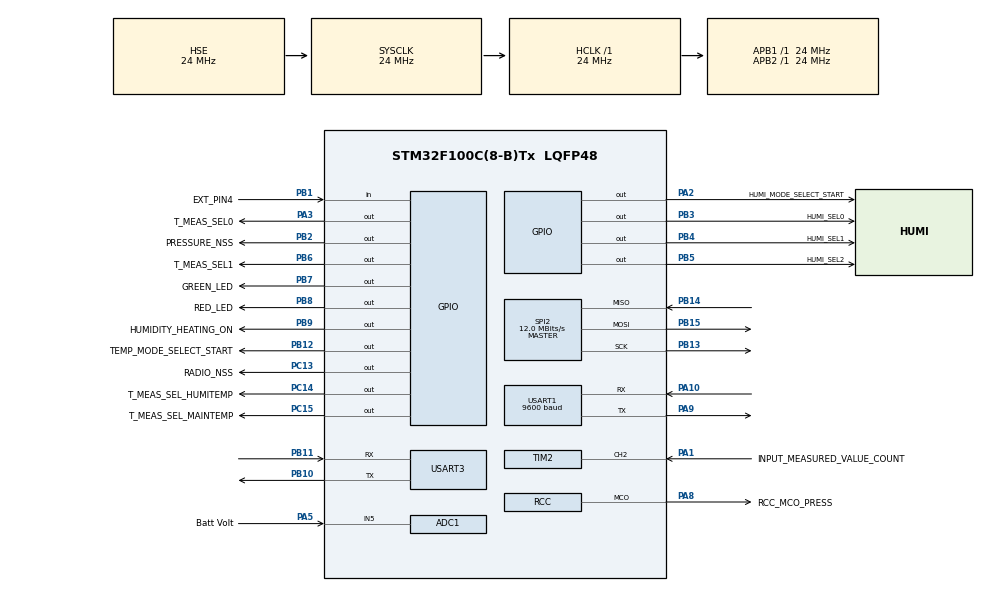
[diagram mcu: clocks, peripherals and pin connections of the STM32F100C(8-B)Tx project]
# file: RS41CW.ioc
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ADC1.Channel-0\#ChannelRegularConversion=ADC_CHANNEL_5
ADC1.NbrOfConversionFlag=1
ADC1.Rank-0\#ChannelRegularConversion=1
ADC1.SamplingTime-0\#ChannelRegularConversion=ADC_SAMPLETIME_1CYCLE_5
ADC1.master=1
Mcu.Family=STM32F1
Mcu.Name=STM32F100C(8-B)Tx
Mcu.Package=LQFP48
NVIC.PriorityGroup=NVIC_PRIORITYGROUP_4
NVIC.TIM2_IRQn=true\:0\:0\:false\:false\:true\:true\:true\:true
NVIC.TIM6_DAC_IRQn=true\:15\:0\:false\:false\:true\:false\:true\:true
NVIC.TIM7_IRQn=true\:0\:0\:false\:false\:true\:true\:true\:true
NVIC.TimeBase=TIM6_DAC_IRQn
NVIC.TimeBaseIP=TIM6
PA1.GPIO_Label=INPUT_MEASURED_VALUE_COUNT
PA1.GPIO_Mode=GPIO_MODE_INPUT
PA1.GPIO_PuPd=GPIO_NOPULL
PA1.Signal=S_TIM2_CH2
PA10.Mode=Asynchronous
PA10.Signal=USART1_RX
PA13.Mode=Serial_Wire
PA13.Signal=SYS_JTMS-SWDIO
PA14.Mode=Serial_Wire
PA14.Signal=SYS_JTCK-SWCLK
PA2.GPIO_Label=HUMI_MODE_SELECT_START
PA2.GPIO_PuPd=GPIO_NOPULL
PA2.PinState=GPIO_PIN_RESET
PA2.Signal=GPIO_Output
PA3.GPIO_Label=T_MEAS_SEL0
PA3.Signal=GPIO_Output
PA5.GPIO_Label=Batt Volt
PA5.Signal=ADCx_IN5
PA8.GPIO_Label=RCC_MCO_PRESS
PA8.Mode=Clock-out
PA8.Signal=RCC_MCO
PA9.Mode=Asynchronous
PA9.Signal=USART1_TX
PB1.GPIO_Label=EXT_PIN4
PB1.Signal=GPIO_Input
PB10.Mode=Asynchronous
PB10.Signal=USART3_TX
PB11.Mode=Asynchronous
PB11.Signal=USART3_RX
PB12.GPIO_Label=TEMP_MODE_SELECT_START
PB12.GPIO_PuPd=GPIO_NOPULL
PB12.Signal=GPIO_Output
PB13.Mode=Full_Duplex_Master
PB13.Signal=SPI2_SCK
PB14.Mode=Full_Duplex_Master
PB14.Signal=SPI2_MISO
PB15.Mode=Full_Duplex_Master
PB15.Signal=SPI2_MOSI
PB2.GPIO_Label=PRESSURE_NSS
PB2.Signal=GPIO_Output
PB3.GPIO_Label=HUMI_SEL0
PB3.Signal=GPIO_Output
PB4.GPIO_Label=HUMI_SEL1
PB4.Signal=GPIO_Output
PB5.GPIO_Label=HUMI_SEL2
PB5.Signal=GPIO_Output
PB6.GPIO_Label=T_MEAS_SEL1
PB6.Signal=GPIO_Output
PB7.GPIO_Label=GREEN_LED
PB7.Signal=GPIO_Output
PB8.GPIO_Label=RED_LED
PB8.Signal=GPIO_Output
PB9.GPIO_Label=HUMIDITY_HEATING_ON
PB9.Signal=GPIO_Output
PC13-TAMPER-RTC.GPIO_Label=RADIO_NSS
PC13-TAMPER-RTC.Signal=GPIO_Output
PC14-OSC32_IN.GPIO_Label=T_MEAS_SEL_HUMITEMP
PC14-OSC32_IN.Signal=GPIO_Output
PC15-OSC32_OUT.GPIO_Label=T_MEAS_SEL_MAINTEMP
PC15-OSC32_OUT.Signal=GPIO_Output
PD0-OSC_IN.Mode=HSE-External-Oscillator
PD0-OSC_IN.Signal=RCC_OSC_IN
PD1-OSC_OUT.Mode=HSE-External-Oscillator
PD1-OSC_OUT.Signal=RCC_OSC_OUT
ProjectManager.HeapSize=0x200
ProjectManager.StackSize=0x400
ProjectManager.TargetToolchain=STM32CubeIDE
RCC.AHBFreq_Value=24000000
RCC.APB1Freq_Value=24000000
RCC.APB1TimFreq_Value=24000000
RCC.APB2Freq_Value=24000000
RCC.APB2TimFreq_Value=24000000
RCC.HCLKFreq_Value=24000000
RCC.HSEDivPLL=RCC_HSE_PREDIV_DIV2
RCC.HSE_VALUE=24000000
RCC.PLLSource=RCC_PLLSOURCE_HSE
RCC.RCC_MCOSource=RCC_MCO1SOURCE_HSE
RCC.SYSCLKFreq_VALUE=24000000
RCC.SYSCLKSource=RCC_SYSCLKSOURCE_HSE
SH.ADCx_IN5.0=ADC1_IN5,IN5
SH.S_TIM2_CH2.0=TIM2_CH2,Input_Capture2_from_TI2
SPI2.CalculateBaudRate=12.0 MBits/s
SPI2.Direction=SPI_DIRECTION_2LINES
SPI2.Mode=SPI_MODE_MASTER
SPI2.VirtualType=VM_MASTER
TIM15.AutoReloadPreload=TIM_AUTORELOAD_PRELOAD_ENABLE
TIM15.Channel-PWM\ Generation2\ No\ Output=TIM_CHANNEL_2
TIM15.Period=24000-1
TIM15.Prescaler=1
TIM15.Pulse-PWM\ Generation2\ No\ Output=12000
TIM2.Channel-Input_Capture2_from_TI2=TIM_CHANNEL_2
TIM2.Prescaler=0
TIM7.Period=1000
TIM7.Prescaler=23999
USART1.BaudRate=9600
USART1.VirtualMode=VM_ASYNC
USART3.VirtualMode=VM_ASYNC
VP_SYS_VS_tim6.Mode=TIM6
VP_TIM15_VS_ClockSourceINT.Mode=Internal
VP_TIM15_VS_no_output2.Mode=PWM Generation2 No Output
VP_TIM2_VS_ClockSourceINT.Mode=Internal
VP_TIM7_VS_ClockSourceINT.Mode=Enable_Timer
board=custom

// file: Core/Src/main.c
/* USER CODE BEGIN Header */
/**
  ******************************************************************************
  * @file           : main.c
  * @brief          : Main program body
  ******************************************************************************
  * @attention
  *
  * Copyright (c) 2024 STMicroelectronics.
  * All rights reserved.
  *
  * This software is licensed under terms that can be found in the LICENSE file
  * in the root directory of this software component.
  * If no LICENSE file comes with this software, it is provided AS-IS.
  *
  ******************************************************************************
  */
/* USER CODE END Header */
#include "main.h"

/* USER CODE BEGIN Includes */
#include <string.h>
#include "radio.h"
#include "Setup_Si4032.h"
#include "config.h"
#include "cw.h"

/* USER CODE END Includes */

ADC_HandleTypeDef hadc1;

SPI_HandleTypeDef hspi2;

TIM_HandleTypeDef htim2;
TIM_HandleTypeDef htim7;
TIM_HandleTypeDef htim15;

UART_HandleTypeDef huart1;
UART_HandleTypeDef huart3;

void SystemClock_Config(void);
static void MX_GPIO_Init(void);
static void MX_USART1_UART_Init(void);
static void MX_ADC1_Init(void);
static void MX_USART3_UART_Init(void);
static void MX_TIM2_Init(void);
static void MX_TIM7_Init(void);
static void MX_TIM15_Init(void);
static void MX_SPI2_Init(void);

/* USER CODE BEGIN 0 */
int oneSecTic = 0;
uint8_t txData[64];

/* USER CODE END 0 */

int main(void)
{
  /* USER CODE BEGIN 1 */
	HAL_StatusTypeDef HAL_Status;

  /* USER CODE END 1 */

  /* MCU Configuration--------------------------------------------------------*/

  /* Reset of all peripherals, Initializes the Flash interface and the Systick. */
  HAL_Init();

  /* Configure the system clock */
  SystemClock_Config();

  /* Initialize all configured peripherals */
  MX_GPIO_Init();
  MX_USART1_UART_Init();
  MX_ADC1_Init();
  MX_USART3_UART_Init();
  MX_TIM2_Init();
  MX_TIM7_Init();
  MX_TIM15_Init();
  MX_SPI2_Init();
  /* USER CODE BEGIN 2 */

  HAL_Status = setupRadio(&hspi2);
  if(HAL_Status == HAL_OK)
  {
	  //Turm tx on
	  HAL_Status = enableTx();

	  if (HAL_SPI_DeInit(&hspi2) != HAL_OK)
	  {
		Error_Handler();
	  }

	  remapTIM15();

	  sendCallCW(CALL_SIGN,strlen(CALL_SIGN));
	  HAL_Delay(1000);
	  __HAL_AFIO_REMAP_TIM15_ENABLE();

  }

  /* USER CODE END 2 */

  /* Infinite loop */
  while (1)
  {

    /* USER CODE BEGIN 3 */
	  HAL_Delay(1000*600);
	  sendCallCW(CALL_SIGN,strlen(CALL_SIGN));
	  HAL_Delay(1000);
	  __HAL_AFIO_REMAP_TIM15_ENABLE();
  }
  /* USER CODE END 3 */
}

void SystemClock_Config(void)
{
  RCC_OscInitTypeDef RCC_OscInitStruct = {0};
  RCC_ClkInitTypeDef RCC_ClkInitStruct = {0};
  RCC_PeriphCLKInitTypeDef PeriphClkInit = {0};

  /** Initializes the RCC Oscillators according to the specified parameters
  * in the RCC_OscInitTypeDef structure.
  */
  RCC_OscInitStruct.OscillatorType = RCC_OSCILLATORTYPE_HSE;
  RCC_OscInitStruct.HSEState = RCC_HSE_ON;
  RCC_OscInitStruct.PLL.PLLState = RCC_PLL_NONE;
  if (HAL_RCC_OscConfig(&RCC_OscInitStruct) != HAL_OK)
  {
    Error_Handler();
  }

  /** Initializes the CPU, AHB and APB buses clocks
  */
  RCC_ClkInitStruct.ClockType = RCC_CLOCKTYPE_HCLK|RCC_CLOCKTYPE_SYSCLK
                              |RCC_CLOCKTYPE_PCLK1|RCC_CLOCKTYPE_PCLK2;
  RCC_ClkInitStruct.SYSCLKSource = RCC_SYSCLKSOURCE_HSE;
  RCC_ClkInitStruct.AHBCLKDivider = RCC_SYSCLK_DIV1;
  RCC_ClkInitStruct.APB1CLKDivider = RCC_HCLK_DIV1;
  RCC_ClkInitStruct.APB2CLKDivider = RCC_HCLK_DIV1;

  if (HAL_RCC_ClockConfig(&RCC_ClkInitStruct, FLASH_LATENCY_0) != HAL_OK)
  {
    Error_Handler();
  }
  PeriphClkInit.PeriphClockSelection = RCC_PERIPHCLK_ADC;
  PeriphClkInit.AdcClockSelection = RCC_ADCPCLK2_DIV2;
  if (HAL_RCCEx_PeriphCLKConfig(&PeriphClkInit) != HAL_OK)
  {
    Error_Handler();
  }
  HAL_RCC_MCOConfig(RCC_MCO, RCC_MCO1SOURCE_HSE, RCC_MCODIV_1);
}

static void MX_ADC1_Init(void)
{

  ADC_ChannelConfTypeDef sConfig = {0};

  /** Common config
  */
  hadc1.Instance = ADC1;
  hadc1.Init.ScanConvMode = ADC_SCAN_DISABLE;
  hadc1.Init.ContinuousConvMode = DISABLE;
  hadc1.Init.DiscontinuousConvMode = DISABLE;
  hadc1.Init.ExternalTrigConv = ADC_SOFTWARE_START;
  hadc1.Init.DataAlign = ADC_DATAALIGN_RIGHT;
  hadc1.Init.NbrOfConversion = 1;
  if (HAL_ADC_Init(&hadc1) != HAL_OK)
  {
    Error_Handler();
  }

  /** Configure Regular Channel
  */
  sConfig.Channel = ADC_CHANNEL_5;
  sConfig.Rank = ADC_REGULAR_RANK_1;
  sConfig.SamplingTime = ADC_SAMPLETIME_1CYCLE_5;
  if (HAL_ADC_ConfigChannel(&hadc1, &sConfig) != HAL_OK)
  {
    Error_Handler();
  }

}

static void MX_SPI2_Init(void)
{

  /* SPI2 parameter configuration*/
  hspi2.Instance = SPI2;
  hspi2.Init.Mode = SPI_MODE_MASTER;
  hspi2.Init.Direction = SPI_DIRECTION_2LINES;
  hspi2.Init.DataSize = SPI_DATASIZE_8BIT;
  hspi2.Init.CLKPolarity = SPI_POLARITY_LOW;
  hspi2.Init.CLKPhase = SPI_PHASE_1EDGE;
  hspi2.Init.NSS = SPI_NSS_SOFT;
  hspi2.Init.BaudRatePrescaler = SPI_BAUDRATEPRESCALER_2;
  hspi2.Init.FirstBit = SPI_FIRSTBIT_MSB;
  hspi2.Init.TIMode = SPI_TIMODE_DISABLE;
  hspi2.Init.CRCCalculation = SPI_CRCCALCULATION_DISABLE;
  hspi2.Init.CRCPolynomial = 10;
  if (HAL_SPI_Init(&hspi2) != HAL_OK)
  {
    Error_Handler();
  }

}

static void MX_TIM2_Init(void)
{

  TIM_ClockConfigTypeDef sClockSourceConfig = {0};
  TIM_MasterConfigTypeDef sMasterConfig = {0};
  TIM_IC_InitTypeDef sConfigIC = {0};

  htim2.Instance = TIM2;
  htim2.Init.Prescaler = 0;
  htim2.Init.CounterMode = TIM_COUNTERMODE_UP;
  htim2.Init.Period = 65535;
  htim2.Init.ClockDivision = TIM_CLOCKDIVISION_DIV1;
  htim2.Init.AutoReloadPreload = TIM_AUTORELOAD_PRELOAD_DISABLE;
  if (HAL_TIM_Base_Init(&htim2) != HAL_OK)
  {
    Error_Handler();
  }
  sClockSourceConfig.ClockSource = TIM_CLOCKSOURCE_INTERNAL;
  if (HAL_TIM_ConfigClockSource(&htim2, &sClockSourceConfig) != HAL_OK)
  {
    Error_Handler();
  }
  if (HAL_TIM_IC_Init(&htim2) != HAL_OK)
  {
    Error_Handler();
  }
  sMasterConfig.MasterOutputTrigger = TIM_TRGO_RESET;
  sMasterConfig.MasterSlaveMode = TIM_MASTERSLAVEMODE_DISABLE;
  if (HAL_TIMEx_MasterConfigSynchronization(&htim2, &sMasterConfig) != HAL_OK)
  {
    Error_Handler();
  }
  sConfigIC.ICPolarity = TIM_INPUTCHANNELPOLARITY_RISING;
  sConfigIC.ICSelection = TIM_ICSELECTION_DIRECTTI;
  sConfigIC.ICPrescaler = TIM_ICPSC_DIV1;
  sConfigIC.ICFilter = 0;
  if (HAL_TIM_IC_ConfigChannel(&htim2, &sConfigIC, TIM_CHANNEL_2) != HAL_OK)
  {
    Error_Handler();
  }

}

static void MX_TIM7_Init(void)
{

  TIM_MasterConfigTypeDef sMasterConfig = {0};

  htim7.Instance = TIM7;
  htim7.Init.Prescaler = 23999;
  htim7.Init.CounterMode = TIM_COUNTERMODE_UP;
  htim7.Init.Period = 1000;
  htim7.Init.AutoReloadPreload = TIM_AUTORELOAD_PRELOAD_DISABLE;
  if (HAL_TIM_Base_Init(&htim7) != HAL_OK)
  {
    Error_Handler();
  }
  sMasterConfig.MasterOutputTrigger = TIM_TRGO_RESET;
  sMasterConfig.MasterSlaveMode = TIM_MASTERSLAVEMODE_DISABLE;
  if (HAL_TIMEx_MasterConfigSynchronization(&htim7, &sMasterConfig) != HAL_OK)
  {
    Error_Handler();
  }
  /* USER CODE BEGIN TIM7_Init 2 */

  if (HAL_TIM_Base_Start_IT(&htim7) != HAL_OK)
  {
    Error_Handler();
  }

  /* USER CODE END TIM7_Init 2 */

}

static void MX_TIM15_Init(void)
{

  TIM_ClockConfigTypeDef sClockSourceConfig = {0};
  TIM_MasterConfigTypeDef sMasterConfig = {0};
  TIM_OC_InitTypeDef sConfigOC = {0};
  TIM_BreakDeadTimeConfigTypeDef sBreakDeadTimeConfig = {0};

  htim15.Instance = TIM15;
  htim15.Init.Prescaler = 1;
  htim15.Init.CounterMode = TIM_COUNTERMODE_UP;
  htim15.Init.Period = 24000-1;
  htim15.Init.ClockDivision = TIM_CLOCKDIVISION_DIV1;
  htim15.Init.RepetitionCounter = 0;
  htim15.Init.AutoReloadPreload = TIM_AUTORELOAD_PRELOAD_ENABLE;
  if (HAL_TIM_Base_Init(&htim15) != HAL_OK)
  {
    Error_Handler();
  }
  sClockSourceConfig.ClockSource = TIM_CLOCKSOURCE_INTERNAL;
  if (HAL_TIM_ConfigClockSource(&htim15, &sClockSourceConfig) != HAL_OK)
  {
    Error_Handler();
  }
  if (HAL_TIM_PWM_Init(&htim15) != HAL_OK)
  {
    Error_Handler();
  }
  sMasterConfig.MasterOutputTrigger = TIM_TRGO_RESET;
  sMasterConfig.MasterSlaveMode = TIM_MASTERSLAVEMODE_DISABLE;
  if (HAL_TIMEx_MasterConfigSynchronization(&htim15, &sMasterConfig) != HAL_OK)
  {
    Error_Handler();
  }
  sConfigOC.OCMode = TIM_OCMODE_PWM1;
  sConfigOC.Pulse = 12000;
  sConfigOC.OCPolarity = TIM_OCPOLARITY_HIGH;
  sConfigOC.OCNPolarity = TIM_OCNPOLARITY_HIGH;
  sConfigOC.OCFastMode = TIM_OCFAST_DISABLE;
  sConfigOC.OCIdleState = TIM_OCIDLESTATE_RESET;
  sConfigOC.OCNIdleState = TIM_OCNIDLESTATE_RESET;
  if (HAL_TIM_PWM_ConfigChannel(&htim15, &sConfigOC, TIM_CHANNEL_2) != HAL_OK)
  {
    Error_Handler();
  }
  sBreakDeadTimeConfig.OffStateRunMode = TIM_OSSR_DISABLE;
  sBreakDeadTimeConfig.OffStateIDLEMode = TIM_OSSI_DISABLE;
  sBreakDeadTimeConfig.LockLevel = TIM_LOCKLEVEL_OFF;
  sBreakDeadTimeConfig.DeadTime = 0;
  sBreakDeadTimeConfig.BreakState = TIM_BREAK_DISABLE;
  sBreakDeadTimeConfig.BreakPolarity = TIM_BREAKPOLARITY_HIGH;
  sBreakDeadTimeConfig.AutomaticOutput = TIM_AUTOMATICOUTPUT_DISABLE;
  if (HAL_TIMEx_ConfigBreakDeadTime(&htim15, &sBreakDeadTimeConfig) != HAL_OK)
  {
    Error_Handler();
  }
  /* USER CODE BEGIN TIM15_Init 2 */

  HAL_TIM_PWM_Start(&htim15,TIM_CHANNEL_2);
  /* USER CODE END TIM15_Init 2 */

}

static void MX_USART1_UART_Init(void)
{

  huart1.Instance = USART1;
  huart1.Init.BaudRate = 9600;
  huart1.Init.WordLength = UART_WORDLENGTH_8B;
  huart1.Init.StopBits = UART_STOPBITS_1;
  huart1.Init.Parity = UART_PARITY_NONE;
  huart1.Init.Mode = UART_MODE_TX_RX;
  huart1.Init.HwFlowCtl = UART_HWCONTROL_NONE;
  huart1.Init.OverSampling = UART_OVERSAMPLING_16;
  if (HAL_UART_Init(&huart1) != HAL_OK)
  {
    Error_Handler();
  }

}

static void MX_USART3_UART_Init(void)
{

  huart3.Instance = USART3;
  huart3.Init.BaudRate = 115200;
  huart3.Init.WordLength = UART_WORDLENGTH_8B;
  huart3.Init.StopBits = UART_STOPBITS_1;
  huart3.Init.Parity = UART_PARITY_NONE;
  huart3.Init.Mode = UART_MODE_TX_RX;
  huart3.Init.HwFlowCtl = UART_HWCONTROL_NONE;
  huart3.Init.OverSampling = UART_OVERSAMPLING_16;
  if (HAL_UART_Init(&huart3) != HAL_OK)
  {
    Error_Handler();
  }

}

static void MX_GPIO_Init(void)
{
  GPIO_InitTypeDef GPIO_InitStruct = {0};

  /* GPIO Ports Clock Enable */
  __HAL_RCC_GPIOC_CLK_ENABLE();
  __HAL_RCC_GPIOD_CLK_ENABLE();
  __HAL_RCC_GPIOA_CLK_ENABLE();
  __HAL_RCC_GPIOB_CLK_ENABLE();

  /*Configure GPIO pin Output Level */
  HAL_GPIO_WritePin(GPIOC, RADIO_NSS_Pin|T_MEAS_SEL_HUMITEMP_Pin|T_MEAS_SEL_MAINTEMP_Pin, GPIO_PIN_RESET);

  /*Configure GPIO pin Output Level */
  HAL_GPIO_WritePin(GPIOA, HUMI_MODE_SELECT_START_Pin|T_MEAS_SEL0_Pin, GPIO_PIN_RESET);

  /*Configure GPIO pin Output Level */
  HAL_GPIO_WritePin(GPIOB, PRESSURE_NSS_Pin|TEMP_MODE_SELECT_START_Pin|HUMI_SEL0_Pin|HUMI_SEL1_Pin
                          |HUMI_SEL2_Pin|T_MEAS_SEL1_Pin|GREEN_LED_Pin|RED_LED_Pin
                          |HUMIDITY_HEATING_ON_Pin, GPIO_PIN_RESET);

  /*Configure GPIO pins : RADIO_NSS_Pin T_MEAS_SEL_HUMITEMP_Pin T_MEAS_SEL_MAINTEMP_Pin */
  GPIO_InitStruct.Pin = RADIO_NSS_Pin|T_MEAS_SEL_HUMITEMP_Pin|T_MEAS_SEL_MAINTEMP_Pin;
  GPIO_InitStruct.Mode = GPIO_MODE_OUTPUT_PP;
  GPIO_InitStruct.Pull = GPIO_NOPULL;
  GPIO_InitStruct.Speed = GPIO_SPEED_FREQ_LOW;
  HAL_GPIO_Init(GPIOC, &GPIO_InitStruct);

  /*Configure GPIO pins : HUMI_MODE_SELECT_START_Pin T_MEAS_SEL0_Pin */
  GPIO_InitStruct.Pin = HUMI_MODE_SELECT_START_Pin|T_MEAS_SEL0_Pin;
  GPIO_InitStruct.Mode = GPIO_MODE_OUTPUT_PP;
  GPIO_InitStruct.Pull = GPIO_NOPULL;
  GPIO_InitStruct.Speed = GPIO_SPEED_FREQ_LOW;
  HAL_GPIO_Init(GPIOA, &GPIO_InitStruct);

  /*Configure GPIO pin : EXT_PIN4_Pin */
  GPIO_InitStruct.Pin = EXT_PIN4_Pin;
  GPIO_InitStruct.Mode = GPIO_MODE_INPUT;
  GPIO_InitStruct.Pull = GPIO_NOPULL;
  HAL_GPIO_Init(EXT_PIN4_GPIO_Port, &GPIO_InitStruct);

  /*Configure GPIO pins : PRESSURE_NSS_Pin TEMP_MODE_SELECT_START_Pin HUMI_SEL0_Pin HUMI_SEL1_Pin
                           HUMI_SEL2_Pin T_MEAS_SEL1_Pin GREEN_LED_Pin RED_LED_Pin
                           HUMIDITY_HEATING_ON_Pin */
  GPIO_InitStruct.Pin = PRESSURE_NSS_Pin|TEMP_MODE_SELECT_START_Pin|HUMI_SEL0_Pin|HUMI_SEL1_Pin
                          |HUMI_SEL2_Pin|T_MEAS_SEL1_Pin|GREEN_LED_Pin|RED_LED_Pin
                          |HUMIDITY_HEATING_ON_Pin;
  GPIO_InitStruct.Mode = GPIO_MODE_OUTPUT_PP;
  GPIO_InitStruct.Pull = GPIO_NOPULL;
  GPIO_InitStruct.Speed = GPIO_SPEED_FREQ_LOW;
  HAL_GPIO_Init(GPIOB, &GPIO_InitStruct);

  /*Configure GPIO pin : RCC_MCO_PRESS_Pin */
  GPIO_InitStruct.Pin = RCC_MCO_PRESS_Pin;
  GPIO_InitStruct.Mode = GPIO_MODE_AF_PP;
  GPIO_InitStruct.Speed = GPIO_SPEED_FREQ_LOW;
  HAL_GPIO_Init(RCC_MCO_PRESS_GPIO_Port, &GPIO_InitStruct);

}

void HAL_TIM_PeriodElapsedCallback(TIM_HandleTypeDef *htim)
{
  if (htim->Instance == TIM6) {
    HAL_IncTick();
  }
  /* USER CODE BEGIN Callback 1 */

  if (htim->Instance == TIM7)
  {
	  oneSecTic++;
	  if(oneSecTic % 2 == 0)
	  {
		  HAL_GPIO_TogglePin(GPIOB, RED_LED_Pin);
	  }
	  else
	  {
		  HAL_GPIO_TogglePin(GPIOB, GREEN_LED_Pin);
	  }
  }

  /* USER CODE END Callback 1 */
}

void Error_Handler(void)
{
  __disable_irq();
  while (1)
  {
  }
}
